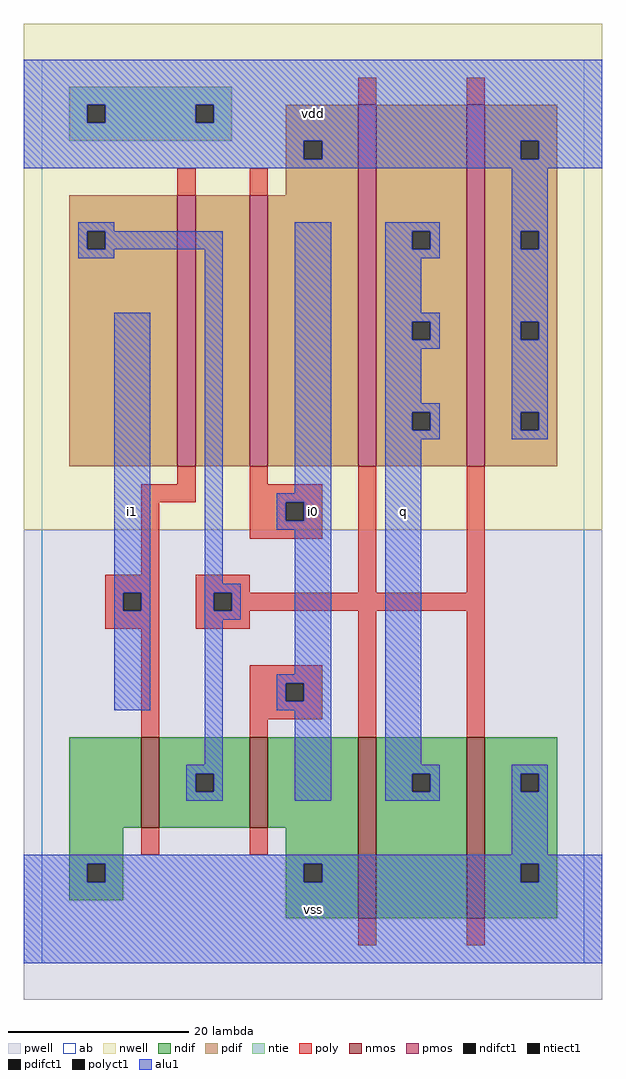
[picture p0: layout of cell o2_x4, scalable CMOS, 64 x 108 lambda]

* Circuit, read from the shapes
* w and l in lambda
.subckt o2_x4 i0 i1 q vdd vss
M1 n1 i1 vss VSUBS nfet w=10 l=2
M2 vss i0 n1 VSUBS nfet w=10 l=2
M3 q n1 vss VSUBS nfet w=20 l=2 m=2
M4 n2 i1 n1 vdd pfet w=30 l=2
M5 vdd i0 n2 vdd pfet w=30 l=2
M6 q n1 vdd vdd pfet w=40 l=2 m=2
.ends

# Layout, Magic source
magic
tech scmos
<< ab >>
rect 0 0 60 100
<< nwell >>
rect -2 48 62 104
<< pwell >>
rect -2 -4 62 48
<< poly >>
rect 35 95 37 98
rect 47 95 49 98
rect 15 85 17 88
rect 23 85 25 88
rect 15 53 17 55
rect 11 51 17 53
rect 23 53 25 55
rect 23 51 31 53
rect 11 43 13 51
rect 23 49 27 51
rect 29 49 31 51
rect 23 47 31 49
rect 7 41 13 43
rect 7 39 9 41
rect 11 39 13 41
rect 7 37 13 39
rect 17 41 23 43
rect 35 41 37 55
rect 47 41 49 55
rect 17 39 19 41
rect 21 39 49 41
rect 17 37 23 39
rect 11 25 13 37
rect 23 31 31 33
rect 23 29 27 31
rect 29 29 31 31
rect 23 27 31 29
rect 23 25 25 27
rect 35 25 37 39
rect 47 25 49 39
rect 11 12 13 15
rect 23 12 25 15
rect 35 2 37 5
rect 47 2 49 5
<< ndif >>
rect 3 15 11 25
rect 13 21 23 25
rect 13 19 17 21
rect 19 19 23 21
rect 13 15 23 19
rect 25 15 35 25
rect 3 11 9 15
rect 3 9 5 11
rect 7 9 9 11
rect 3 7 9 9
rect 27 11 35 15
rect 27 9 29 11
rect 31 9 35 11
rect 27 5 35 9
rect 37 21 47 25
rect 37 19 41 21
rect 43 19 47 21
rect 37 5 47 19
rect 49 21 57 25
rect 49 19 53 21
rect 55 19 57 21
rect 49 11 57 19
rect 49 9 53 11
rect 55 9 57 11
rect 49 5 57 9
<< pdif >>
rect 27 91 35 95
rect 27 89 29 91
rect 31 89 35 91
rect 27 85 35 89
rect 3 81 15 85
rect 3 79 5 81
rect 7 79 15 81
rect 3 55 15 79
rect 17 55 23 85
rect 25 55 35 85
rect 37 81 47 95
rect 37 79 41 81
rect 43 79 47 81
rect 37 71 47 79
rect 37 69 41 71
rect 43 69 47 71
rect 37 61 47 69
rect 37 59 41 61
rect 43 59 47 61
rect 37 55 47 59
rect 49 91 57 95
rect 49 89 53 91
rect 55 89 57 91
rect 49 81 57 89
rect 49 79 53 81
rect 55 79 57 81
rect 49 71 57 79
rect 49 69 53 71
rect 55 69 57 71
rect 49 61 57 69
rect 49 59 53 61
rect 55 59 57 61
rect 49 55 57 59
<< alu1 >>
rect -2 95 62 100
rect -2 93 5 95
rect 7 93 17 95
rect 19 93 62 95
rect -2 91 62 93
rect -2 89 29 91
rect 31 89 53 91
rect 55 89 62 91
rect -2 88 62 89
rect 4 81 8 82
rect 4 79 5 81
rect 7 79 20 81
rect 4 78 8 79
rect 8 41 12 72
rect 8 39 9 41
rect 11 39 12 41
rect 8 28 12 39
rect 18 42 20 79
rect 28 52 32 82
rect 26 51 32 52
rect 26 49 27 51
rect 29 49 32 51
rect 26 48 32 49
rect 18 41 22 42
rect 18 39 19 41
rect 21 39 22 41
rect 18 38 22 39
rect 18 22 20 38
rect 28 32 32 48
rect 26 31 32 32
rect 26 29 27 31
rect 29 29 32 31
rect 26 28 32 29
rect 16 21 20 22
rect 16 19 17 21
rect 19 19 20 21
rect 16 18 20 19
rect 28 18 32 28
rect 38 81 44 82
rect 38 79 41 81
rect 43 79 44 81
rect 38 78 44 79
rect 52 81 56 88
rect 52 79 53 81
rect 55 79 56 81
rect 38 72 42 78
rect 38 71 44 72
rect 38 69 41 71
rect 43 69 44 71
rect 38 68 44 69
rect 52 71 56 79
rect 52 69 53 71
rect 55 69 56 71
rect 38 62 42 68
rect 38 61 44 62
rect 38 59 41 61
rect 43 59 44 61
rect 38 58 44 59
rect 52 61 56 69
rect 52 59 53 61
rect 55 59 56 61
rect 52 58 56 59
rect 38 22 42 58
rect 38 21 44 22
rect 38 19 41 21
rect 43 19 44 21
rect 38 18 44 19
rect 52 21 56 22
rect 52 19 53 21
rect 55 19 56 21
rect 52 12 56 19
rect -2 11 62 12
rect -2 9 5 11
rect 7 9 29 11
rect 31 9 53 11
rect 55 9 62 11
rect -2 0 62 9
<< ntie >>
rect 3 95 21 97
rect 3 93 5 95
rect 7 93 17 95
rect 19 93 21 95
rect 3 91 21 93
<< nmos >>
rect 11 15 13 25
rect 23 15 25 25
rect 35 5 37 25
rect 47 5 49 25
<< pmos >>
rect 15 55 17 85
rect 23 55 25 85
rect 35 55 37 95
rect 47 55 49 95
<< polyct1 >>
rect 27 49 29 51
rect 9 39 11 41
rect 19 39 21 41
rect 27 29 29 31
<< ndifct1 >>
rect 17 19 19 21
rect 5 9 7 11
rect 29 9 31 11
rect 41 19 43 21
rect 53 19 55 21
rect 53 9 55 11
<< ntiect1 >>
rect 5 93 7 95
rect 17 93 19 95
<< pdifct1 >>
rect 29 89 31 91
rect 5 79 7 81
rect 41 79 43 81
rect 41 69 43 71
rect 41 59 43 61
rect 53 89 55 91
rect 53 79 55 81
rect 53 69 55 71
rect 53 59 55 61
<< labels >>
rlabel alu1 10 50 10 50 6 i1
rlabel alu1 30 6 30 6 6 vss
rlabel alu1 40 50 40 50 6 q
rlabel alu1 30 50 30 50 6 i0
rlabel alu1 30 94 30 94 6 vdd
<< end >>
